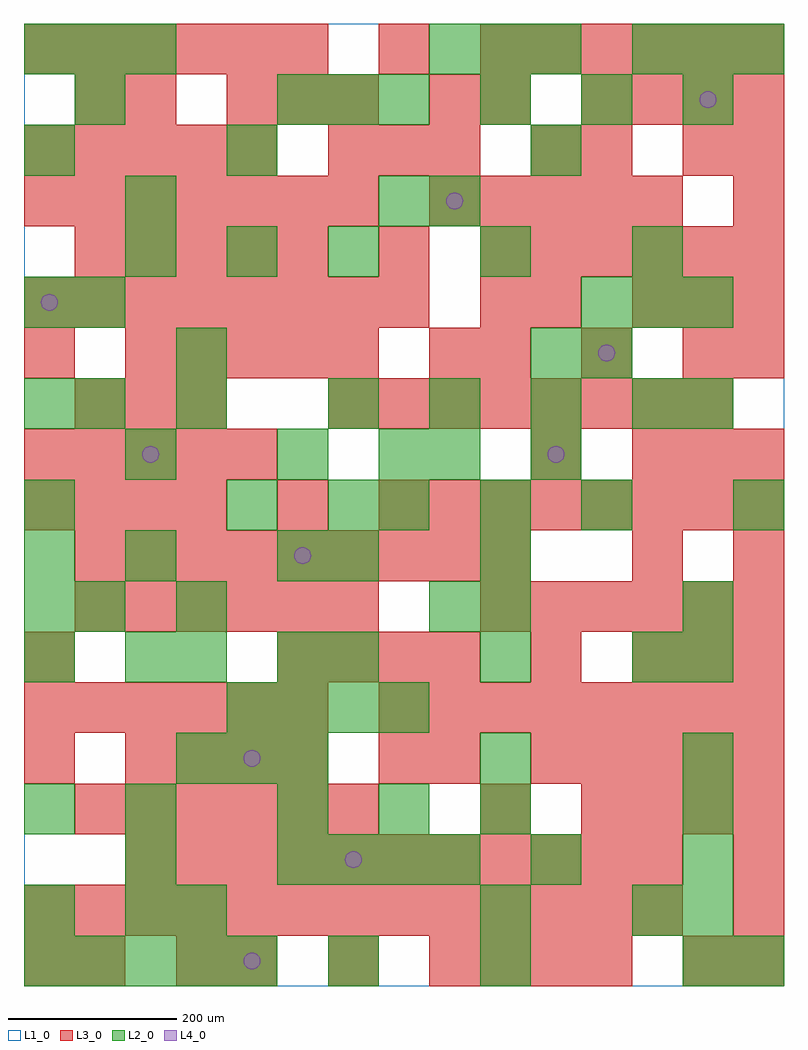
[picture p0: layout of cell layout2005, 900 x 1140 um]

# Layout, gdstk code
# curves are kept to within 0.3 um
import gdstk
lib = gdstk.Library(unit=1e-6, precision=1e-09)
def R(c, l, rs):  # rectangles x0, y0, x1, y1
    for r in rs: c.add(gdstk.rectangle(r[:2], r[2:], *l))
def A(c, l, x, y, w, h, nx, ny, dx, dy):  # array of equal rectangles
    R(c, l, [(x+i*dx, y+j*dy, x+i*dx+w, y+j*dy+h) for i in range(nx) for j in range(ny)])
def P(c, l, *ps):  # polygons
    for p in ps: c.add(gdstk.Polygon(p, *l))
L1_0 = (1, 0)
L2_0 = (2, 0)
L3_0 = (3, 0)
L4_0 = (4, 0)

layout2005 = lib.new_cell('layout2005')
R(layout2005, L1_0, [(0,0,900,1140)])
A(layout2005, L2_0, 0, 0, 60, 60, 5, 1, 60, 0)
A(layout2005, L2_0, 780, 0, 60, 60, 1, 5, 0, 60)
A(layout2005, L2_0, 120, 60, 60, 60, 1, 3, 0, 60)
A(layout2005, L2_0, 540, 60, 60, 60, 1, 3, 0, 180)
A(layout2005, L2_0, 300, 120, 60, 60, 4, 1, 60, 0)
A(layout2005, L2_0, 300, 180, 60, 60, 3, 1, 120, 0)
A(layout2005, L2_0, 180, 240, 60, 60, 3, 1, 60, 0)
A(layout2005, L2_0, 240, 300, 60, 60, 4, 1, 60, 0)
A(layout2005, L2_0, 0, 360, 60, 60, 1, 4, 0, 60)
A(layout2005, L2_0, 120, 360, 60, 60, 1, 3, 0, 120)
A(layout2005, L2_0, 300, 360, 60, 60, 1, 3, 0, 120)
A(layout2005, L2_0, 360, 360, 60, 60, 3, 1, 180, 0)
A(layout2005, L2_0, 420, 540, 60, 60, 3, 1, 120, 0)
A(layout2005, L2_0, 360, 660, 60, 60, 4, 1, 120, 0)
A(layout2005, L2_0, 660, 780, 60, 60, 3, 1, 60, 0)
A(layout2005, L2_0, 120, 840, 60, 60, 3, 1, 120, 0)
A(layout2005, L2_0, 300, 1020, 60, 60, 3, 1, 60, 0)
A(layout2005, L2_0, 540, 1020, 60, 60, 3, 1, 120, 0)
A(layout2005, L2_0, 0, 1080, 60, 60, 3, 1, 60, 0)
A(layout2005, L2_0, 480, 1080, 60, 60, 3, 1, 60, 0)
A(layout2005, L2_0, 720, 1080, 60, 60, 3, 1, 60, 0)
R(layout2005, L2_0, [(360,0,420,60), (540,0,600,60), (840,0,900,60), (0,60,60,120), (180,60,240,120), (720,60,780,120), (600,120,660,180), (0,180,60,240), (180,360,240,420), (780,360,840,420), (60,420,120,480), (180,420,240,480), (480,420,540,480), (780,420,840,480), (360,480,420,540), (540,480,600,540), (240,540,300,600), (360,540,420,600), (840,540,900,600), (420,600,480,660), (480,600,540,660), (600,600,660,660), (0,660,60,720), (60,660,120,720), (180,660,240,720), (780,660,840,720), (180,720,240,780), (600,720,660,780), (660,720,720,780), (0,780,60,840), (60,780,120,840), (540,840,600,900), (720,840,780,900), (120,900,180,960), (420,900,480,960), (480,900,540,960), (0,960,60,1020), (240,960,300,1020), (600,960,660,1020), (60,1020,120,1080)])
A(layout2005, L3_0, 240, 0, 60, 60, 3, 1, 120, 0)
A(layout2005, L3_0, 540, 0, 60, 60, 3, 1, 60, 0)
A(layout2005, L3_0, 840, 0, 60, 60, 1, 3, 0, 60)
A(layout2005, L3_0, 0, 60, 60, 60, 13, 1, 60, 0)
A(layout2005, L3_0, 120, 120, 60, 60, 11, 1, 60, 0)
A(layout2005, L3_0, 60, 180, 60, 60, 6, 2, 60, 240)
A(layout2005, L3_0, 660, 180, 60, 60, 4, 2, 60, 840)
A(layout2005, L3_0, 120, 240, 60, 60, 4, 1, 60, 0)
A(layout2005, L3_0, 600, 240, 60, 60, 5, 1, 60, 0)
A(layout2005, L3_0, 0, 300, 60, 60, 6, 2, 60, 780)
A(layout2005, L3_0, 420, 300, 60, 60, 8, 2, 60, 240)
A(layout2005, L3_0, 300, 360, 60, 60, 4, 1, 60, 0)
A(layout2005, L3_0, 720, 360, 60, 60, 3, 2, 60, 240)
A(layout2005, L3_0, 540, 420, 60, 60, 6, 2, 60, 420)
A(layout2005, L3_0, 60, 480, 60, 60, 9, 1, 60, 0)
A(layout2005, L3_0, 0, 540, 60, 60, 4, 1, 60, 0)
A(layout2005, L3_0, 0, 600, 60, 60, 5, 2, 60, 360)
A(layout2005, L3_0, 600, 600, 60, 60, 1, 3, 0, 180)
A(layout2005, L3_0, 60, 660, 60, 60, 3, 1, 60, 0)
A(layout2005, L3_0, 360, 660, 60, 60, 8, 1, 60, 0)
A(layout2005, L3_0, 120, 720, 60, 60, 5, 1, 60, 0)
A(layout2005, L3_0, 540, 720, 60, 60, 3, 1, 120, 0)
A(layout2005, L3_0, 0, 780, 60, 60, 8, 1, 60, 0)
A(layout2005, L3_0, 720, 780, 60, 60, 3, 1, 60, 0)
A(layout2005, L3_0, 60, 840, 60, 60, 5, 1, 60, 0)
A(layout2005, L3_0, 0, 900, 60, 60, 7, 1, 60, 0)
A(layout2005, L3_0, 480, 900, 60, 60, 5, 1, 60, 0)
A(layout2005, L3_0, 360, 960, 60, 60, 3, 1, 60, 0)
A(layout2005, L3_0, 240, 1020, 60, 60, 3, 1, 60, 0)
A(layout2005, L3_0, 540, 1080, 60, 60, 6, 1, 60, 0)
R(layout2005, L3_0, [(0,0,60,60), (60,0,120,60), (180,0,240,60), (780,0,840,60), (540,180,600,240), (0,240,60,300), (420,240,480,300), (480,240,540,300), (0,360,60,420), (600,360,660,420), (720,480,780,540), (840,480,900,540), (300,540,360,600), (0,720,60,780), (480,720,540,780), (840,720,900,780), (540,780,600,840), (420,840,480,900), (840,900,900,960), (660,960,720,1020), (780,960,840,1020), (840,960,900,1020), (60,1020,120,1080), (120,1020,180,1080), (480,1020,540,1080), (540,1020,600,1080), (420,1080,480,1140)])
P(layout2005, L4_0, [(40,810),(39.239,813.827),(37.071,817.071),(33.827,819.239),(30,820),(26.173,819.239),(22.929,817.071),(20.761,813.827),(20,810),(20.761,806.173),(22.929,802.929),(26.173,800.761),(30,800),(33.827,800.761),(37.071,802.929),(39.239,806.173)],
  [(160,630),(159.239,633.827),(157.071,637.071),(153.827,639.239),(150,640),(146.173,639.239),(142.929,637.071),(140.761,633.827),(140,630),(140.761,626.173),(142.929,622.929),(146.173,620.761),(150,620),(153.827,620.761),(157.071,622.929),(159.239,626.173)],
  [(280,30),(279.239,33.827),(277.071,37.071),(273.827,39.239),(270,40),(266.173,39.239),(262.929,37.071),(260.761,33.827),(260,30),(260.761,26.173),(262.929,22.929),(266.173,20.761),(270,20),(273.827,20.761),(277.071,22.929),(279.239,26.173)],
  [(280,270),(279.239,273.827),(277.071,277.071),(273.827,279.239),(270,280),(266.173,279.239),(262.929,277.071),(260.761,273.827),(260,270),(260.761,266.173),(262.929,262.929),(266.173,260.761),(270,260),(273.827,260.761),(277.071,262.929),(279.239,266.173)],
  [(340,510),(339.239,513.827),(337.071,517.071),(333.827,519.239),(330,520),(326.173,519.239),(322.929,517.071),(320.761,513.827),(320,510),(320.761,506.173),(322.929,502.929),(326.173,500.761),(330,500),(333.827,500.761),(337.071,502.929),(339.239,506.173)],
  [(400,150),(399.239,153.827),(397.071,157.071),(393.827,159.239),(390,160),(386.173,159.239),(382.929,157.071),(380.761,153.827),(380,150),(380.761,146.173),(382.929,142.929),(386.173,140.761),(390,140),(393.827,140.761),(397.071,142.929),(399.239,146.173)],
  [(520,930),(519.239,933.827),(517.071,937.071),(513.827,939.239),(510,940),(506.173,939.239),(502.929,937.071),(500.761,933.827),(500,930),(500.761,926.173),(502.929,922.929),(506.173,920.761),(510,920),(513.827,920.761),(517.071,922.929),(519.239,926.173)],
  [(640,630),(639.239,633.827),(637.071,637.071),(633.827,639.239),(630,640),(626.173,639.239),(622.929,637.071),(620.761,633.827),(620,630),(620.761,626.173),(622.929,622.929),(626.173,620.761),(630,620),(633.827,620.761),(637.071,622.929),(639.239,626.173)],
  [(700,750),(699.239,753.827),(697.071,757.071),(693.827,759.239),(690,760),(686.173,759.239),(682.929,757.071),(680.761,753.827),(680,750),(680.761,746.173),(682.929,742.929),(686.173,740.761),(690,740),(693.827,740.761),(697.071,742.929),(699.239,746.173)],
  [(820,1050),(819.239,1053.827),(817.071,1057.071),(813.827,1059.239),(810,1060),(806.173,1059.239),(802.929,1057.071),(800.761,1053.827),(800,1050),(800.761,1046.173),(802.929,1042.929),(806.173,1040.761),(810,1040),(813.827,1040.761),(817.071,1042.929),(819.239,1046.173)])

lib.write_gds('layout2005.gds')
